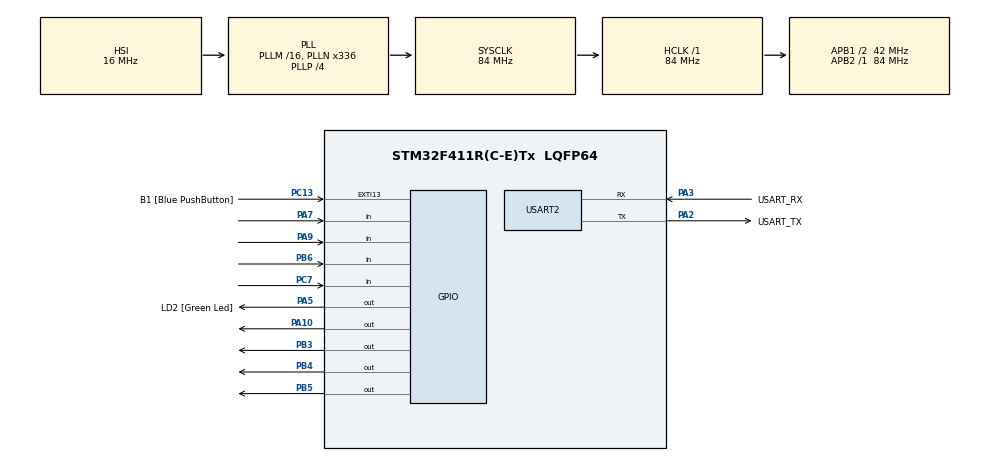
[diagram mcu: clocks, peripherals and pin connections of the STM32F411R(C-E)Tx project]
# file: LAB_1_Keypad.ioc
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Mcu.Family=STM32F4
Mcu.Name=STM32F411R(C-E)Tx
Mcu.Package=LQFP64
NVIC.PriorityGroup=NVIC_PRIORITYGROUP_0
PA10.PinState=GPIO_PIN_SET
PA10.Signal=GPIO_Output
PA13.GPIO_Label=TMS
PA13.Mode=Serial_Wire
PA13.Signal=SYS_JTMS-SWDIO
PA14.GPIO_Label=TCK
PA14.Mode=Serial_Wire
PA14.Signal=SYS_JTCK-SWCLK
PA2.GPIO_Label=USART_TX
PA2.Mode=Asynchronous
PA2.Signal=USART2_TX
PA3.GPIO_Label=USART_RX
PA3.Mode=Asynchronous
PA3.Signal=USART2_RX
PA5.GPIO_Label=LD2 [Green Led]
PA5.Signal=GPIO_Output
PA7.GPIO_PuPd=GPIO_PULLUP
PA7.Signal=GPIO_Input
PA9.GPIO_PuPd=GPIO_PULLUP
PA9.Signal=GPIO_Input
PB3.PinState=GPIO_PIN_SET
PB3.Signal=GPIO_Output
PB4.PinState=GPIO_PIN_SET
PB4.Signal=GPIO_Output
PB5.PinState=GPIO_PIN_SET
PB5.Signal=GPIO_Output
PB6.GPIO_PuPd=GPIO_PULLUP
PB6.Signal=GPIO_Input
PC13-ANTI_TAMP.GPIO_Label=B1 [Blue PushButton]
PC13-ANTI_TAMP.GPIO_ModeDefaultEXTI=GPIO_MODE_IT_FALLING
PC13-ANTI_TAMP.Signal=GPXTI13
PC14-OSC32_IN.Mode=LSE-External-Oscillator
PC14-OSC32_IN.Signal=RCC_OSC32_IN
PC15-OSC32_OUT.Mode=LSE-External-Oscillator
PC15-OSC32_OUT.Signal=RCC_OSC32_OUT
PC7.GPIO_PuPd=GPIO_PULLUP
PC7.Signal=GPIO_Input
PH0\ -\ OSC_IN.Mode=HSE-External-Clock-Source
PH0\ -\ OSC_IN.Signal=RCC_OSC_IN
PH1\ -\ OSC_OUT.Mode=HSE-External-Clock-Source
PH1\ -\ OSC_OUT.Signal=RCC_OSC_OUT
ProjectManager.HeapSize=0x200
ProjectManager.StackSize=0x400
ProjectManager.TargetToolchain=STM32CubeIDE
RCC.48MHZClocksFreq_Value=84000000
RCC.AHBFreq_Value=84000000
RCC.APB1CLKDivider=RCC_HCLK_DIV2
RCC.APB1Freq_Value=42000000
RCC.APB1TimFreq_Value=84000000
RCC.APB2Freq_Value=84000000
RCC.APB2TimFreq_Value=84000000
RCC.CortexFreq_Value=84000000
RCC.FLatency-AdvancedSettings=FLASH_LATENCY_2
RCC.HCLKFreq_Value=84000000
RCC.HSE_VALUE=8000000
RCC.HSI_VALUE=16000000
RCC.PLLN=336
RCC.PLLP=RCC_PLLP_DIV4
RCC.SYSCLKFreq_VALUE=84000000
RCC.SYSCLKSource=RCC_SYSCLKSOURCE_PLLCLK
RCC.VCOOutputFreq_Value=336000000
USART2.VirtualMode=VM_ASYNC
board=NUCLEO-F411RE

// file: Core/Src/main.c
/* USER CODE BEGIN Header */
/**
  ******************************************************************************
  * @file           : main.c
  * @brief          : Main program body
  ******************************************************************************
  * @attention
  *
  * Copyright (c) 2023 STMicroelectronics.
  * All rights reserved.
  *
  * This software is licensed under terms that can be found in the LICENSE file
  * in the root directory of this software component.
  * If no LICENSE file comes with this software, it is provided AS-IS.
  *
  ******************************************************************************
  */
/* USER CODE END Header */
#include "main.h"

UART_HandleTypeDef huart2;

/* USER CODE BEGIN PV */
typedef struct _PortPin
{
	GPIO_TypeDef* PORT;
	uint16_t PIN;
} PortPin;

//Declare PortPin R(nucleo's output),L(nucleo's input)
PortPin L[4] =
{
		{GPIOA,GPIO_PIN_9},
		{GPIOC,GPIO_PIN_7},
		{GPIOB,GPIO_PIN_6},
		{GPIOA,GPIO_PIN_7}
};

PortPin R[4] =
{
		{GPIOA,GPIO_PIN_10},
		{GPIOB,GPIO_PIN_3},
		{GPIOB,GPIO_PIN_5},
		{GPIOB,GPIO_PIN_4}
};

int ind = 0;
uint16_t ref[11] = {512,2,1024,2,8,32,8,8,8,512,4};
uint16_t data[11] = {0,0,0,0,0,0,0,0,0,0,0};
uint16_t ButtonMatrix = 0;
uint16_t ButtonMatrixLast = 0;
void Read1Row();
int CheckPW();
void clc();
/* USER CODE END PV */

void SystemClock_Config(void);
static void MX_GPIO_Init(void);
static void MX_USART2_UART_Init(void);

int main(void)
{

  /* MCU Configuration--------------------------------------------------------*/

  /* Reset of all peripherals, Initializes the Flash interface and the Systick. */
  HAL_Init();

  /* Configure the system clock */
  SystemClock_Config();

  /* Initialize all configured peripherals */
  MX_GPIO_Init();
  MX_USART2_UART_Init();

  /* Infinite loop */
  while (1)
  {

    /* USER CODE BEGIN 3 */
	  static uint32_t timestamp = 0;
	  if (HAL_GetTick()>=timestamp)
	  {
		  timestamp = HAL_GetTick() + 10;
		  Read1Row();
	  }
	  switch (ButtonMatrix)
	  {
		  case 32768: //ok
				  if(CheckPW())
				  {
					  HAL_GPIO_WritePin(GPIOA, GPIO_PIN_5, 1);
				  }
			  break;
		  case 4096: //clc
			  	  clc();
			  break;
		  default:
			  if (ButtonMatrixLast == 0 && ButtonMatrix != 0)
				  {
				  	  HAL_GPIO_WritePin(GPIOA, GPIO_PIN_5, 0);
					  data[ind] = ButtonMatrix;
					  ind = ind+1;
					  ind %= 11;
				  }
	  }
	  ButtonMatrixLast = ButtonMatrix;
  }
  /* USER CODE END 3 */
}

void SystemClock_Config(void)
{
  RCC_OscInitTypeDef RCC_OscInitStruct = {0};
  RCC_ClkInitTypeDef RCC_ClkInitStruct = {0};

  /** Configure the main internal regulator output voltage
  */
  __HAL_RCC_PWR_CLK_ENABLE();
  __HAL_PWR_VOLTAGESCALING_CONFIG(PWR_REGULATOR_VOLTAGE_SCALE1);

  /** Initializes the RCC Oscillators according to the specified parameters
  * in the RCC_OscInitTypeDef structure.
  */
  RCC_OscInitStruct.OscillatorType = RCC_OSCILLATORTYPE_HSI;
  RCC_OscInitStruct.HSIState = RCC_HSI_ON;
  RCC_OscInitStruct.HSICalibrationValue = RCC_HSICALIBRATION_DEFAULT;
  RCC_OscInitStruct.PLL.PLLState = RCC_PLL_ON;
  RCC_OscInitStruct.PLL.PLLSource = RCC_PLLSOURCE_HSI;
  RCC_OscInitStruct.PLL.PLLM = 16;
  RCC_OscInitStruct.PLL.PLLN = 336;
  RCC_OscInitStruct.PLL.PLLP = RCC_PLLP_DIV4;
  RCC_OscInitStruct.PLL.PLLQ = 4;
  if (HAL_RCC_OscConfig(&RCC_OscInitStruct) != HAL_OK)
  {
    Error_Handler();
  }

  /** Initializes the CPU, AHB and APB buses clocks
  */
  RCC_ClkInitStruct.ClockType = RCC_CLOCKTYPE_HCLK|RCC_CLOCKTYPE_SYSCLK
                              |RCC_CLOCKTYPE_PCLK1|RCC_CLOCKTYPE_PCLK2;
  RCC_ClkInitStruct.SYSCLKSource = RCC_SYSCLKSOURCE_PLLCLK;
  RCC_ClkInitStruct.AHBCLKDivider = RCC_SYSCLK_DIV1;
  RCC_ClkInitStruct.APB1CLKDivider = RCC_HCLK_DIV2;
  RCC_ClkInitStruct.APB2CLKDivider = RCC_HCLK_DIV1;

  if (HAL_RCC_ClockConfig(&RCC_ClkInitStruct, FLASH_LATENCY_2) != HAL_OK)
  {
    Error_Handler();
  }
}

static void MX_USART2_UART_Init(void)
{

  huart2.Instance = USART2;
  huart2.Init.BaudRate = 115200;
  huart2.Init.WordLength = UART_WORDLENGTH_8B;
  huart2.Init.StopBits = UART_STOPBITS_1;
  huart2.Init.Parity = UART_PARITY_NONE;
  huart2.Init.Mode = UART_MODE_TX_RX;
  huart2.Init.HwFlowCtl = UART_HWCONTROL_NONE;
  huart2.Init.OverSampling = UART_OVERSAMPLING_16;
  if (HAL_UART_Init(&huart2) != HAL_OK)
  {
    Error_Handler();
  }

}

static void MX_GPIO_Init(void)
{
  GPIO_InitTypeDef GPIO_InitStruct = {0};

  /* GPIO Ports Clock Enable */
  __HAL_RCC_GPIOC_CLK_ENABLE();
  __HAL_RCC_GPIOH_CLK_ENABLE();
  __HAL_RCC_GPIOA_CLK_ENABLE();
  __HAL_RCC_GPIOB_CLK_ENABLE();

  /*Configure GPIO pin Output Level */
  HAL_GPIO_WritePin(LD2_GPIO_Port, LD2_Pin, GPIO_PIN_RESET);

  /*Configure GPIO pin Output Level */
  HAL_GPIO_WritePin(GPIOA, GPIO_PIN_10, GPIO_PIN_SET);

  /*Configure GPIO pin Output Level */
  HAL_GPIO_WritePin(GPIOB, GPIO_PIN_3|GPIO_PIN_4|GPIO_PIN_5, GPIO_PIN_SET);

  /*Configure GPIO pin : B1_Pin */
  GPIO_InitStruct.Pin = B1_Pin;
  GPIO_InitStruct.Mode = GPIO_MODE_IT_FALLING;
  GPIO_InitStruct.Pull = GPIO_NOPULL;
  HAL_GPIO_Init(B1_GPIO_Port, &GPIO_InitStruct);

  /*Configure GPIO pins : LD2_Pin PA10 */
  GPIO_InitStruct.Pin = LD2_Pin|GPIO_PIN_10;
  GPIO_InitStruct.Mode = GPIO_MODE_OUTPUT_PP;
  GPIO_InitStruct.Pull = GPIO_NOPULL;
  GPIO_InitStruct.Speed = GPIO_SPEED_FREQ_LOW;
  HAL_GPIO_Init(GPIOA, &GPIO_InitStruct);

  /*Configure GPIO pins : PA7 PA9 */
  GPIO_InitStruct.Pin = GPIO_PIN_7|GPIO_PIN_9;
  GPIO_InitStruct.Mode = GPIO_MODE_INPUT;
  GPIO_InitStruct.Pull = GPIO_PULLUP;
  HAL_GPIO_Init(GPIOA, &GPIO_InitStruct);

  /*Configure GPIO pin : PC7 */
  GPIO_InitStruct.Pin = GPIO_PIN_7;
  GPIO_InitStruct.Mode = GPIO_MODE_INPUT;
  GPIO_InitStruct.Pull = GPIO_PULLUP;
  HAL_GPIO_Init(GPIOC, &GPIO_InitStruct);

  /*Configure GPIO pins : PB3 PB4 PB5 */
  GPIO_InitStruct.Pin = GPIO_PIN_3|GPIO_PIN_4|GPIO_PIN_5;
  GPIO_InitStruct.Mode = GPIO_MODE_OUTPUT_PP;
  GPIO_InitStruct.Pull = GPIO_NOPULL;
  GPIO_InitStruct.Speed = GPIO_SPEED_FREQ_LOW;
  HAL_GPIO_Init(GPIOB, &GPIO_InitStruct);

  /*Configure GPIO pin : PB6 */
  GPIO_InitStruct.Pin = GPIO_PIN_6;
  GPIO_InitStruct.Mode = GPIO_MODE_INPUT;
  GPIO_InitStruct.Pull = GPIO_PULLUP;
  HAL_GPIO_Init(GPIOB, &GPIO_InitStruct);

}

/* USER CODE BEGIN 4 */
void Read1Row()
{
	static uint8_t x = 0;

	//Read L1-L4
	register int i;
	for (i=0;i<4;i++)
	{
		if (HAL_GPIO_ReadPin(L[i].PORT, L[i].PIN))
		{
			//Change bit to 0
			ButtonMatrix &= ~(1<<(x*4+i));
		}
		else
		{
			ButtonMatrix |= 1<<(x*4+i);
		}
	}
	//Set R[x]
	HAL_GPIO_WritePin(R[x].PORT, R[x].PIN, 1);
	//Reset next R
	HAL_GPIO_WritePin(R[(x+1)%4].PORT, R[(x+1)%4].PIN, 0);
	x++;
	x%=4;
}
int CheckPW()
{
	int n = 0;
	register int j;
	for(j=0;j<11;j++)
	{
		if(data[j] == ref[j])
		{
			n += 1;
		}
	}
	if(n == 11)
	{
		return 1;
	}
	else
	{
		return 0;
	}
}
void clc()
{
	int k;
	for(k=0;k<11;k++)
	{
	  data[k] = 0;
	}
	ind = 0;
}
/* USER CODE END 4 */

void Error_Handler(void)
{
  __disable_irq();
  while (1)
  {
  }
}
